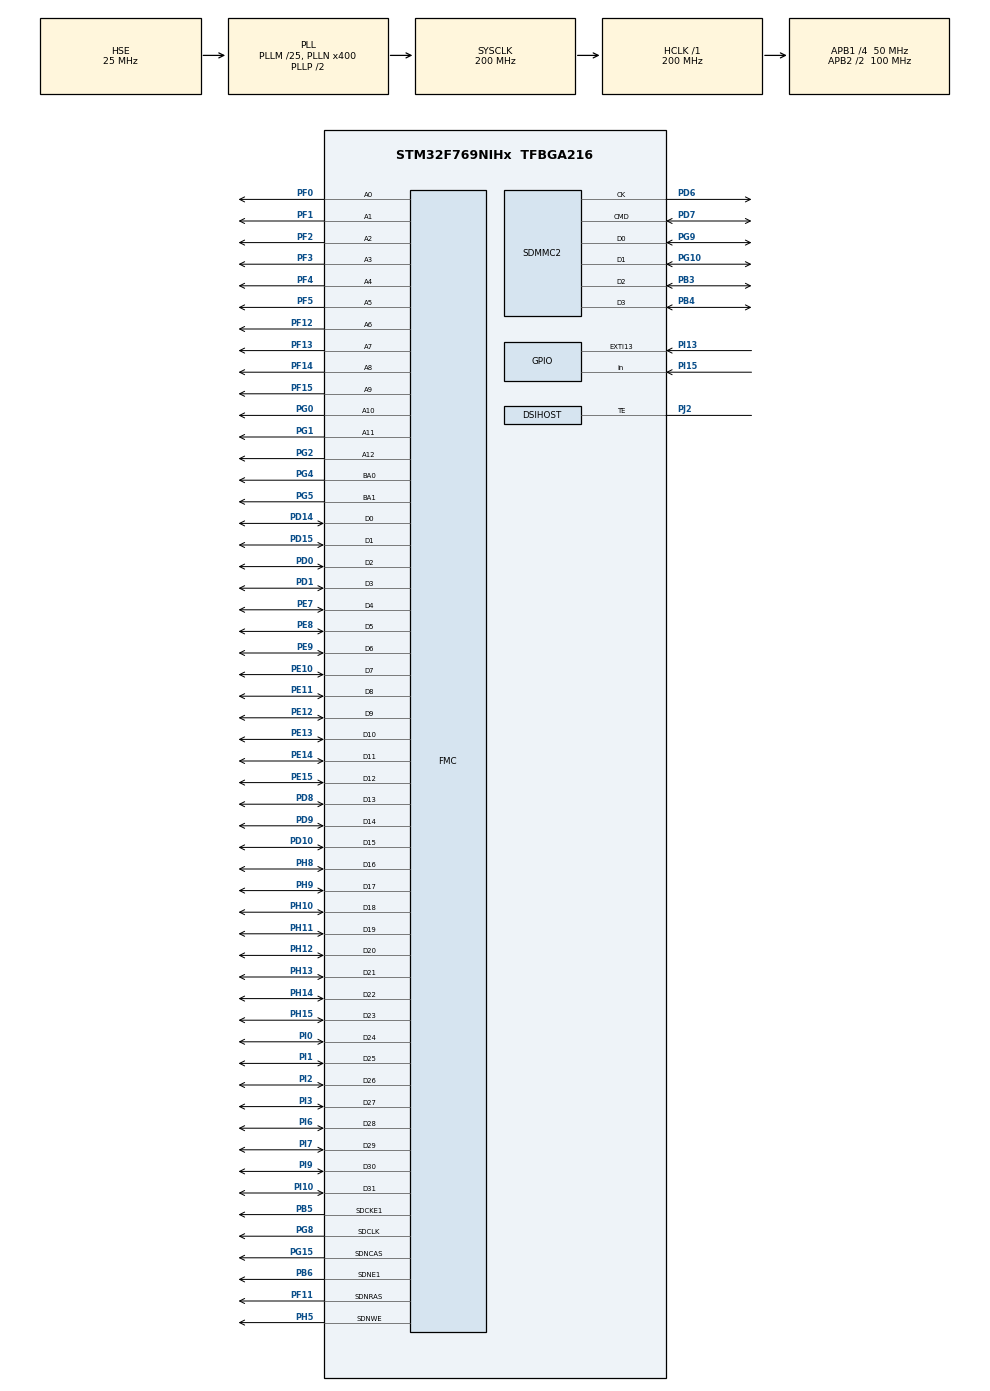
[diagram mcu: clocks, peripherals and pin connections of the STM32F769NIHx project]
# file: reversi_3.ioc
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ADC1.Channel-0\#ChannelRegularConversion=ADC_CHANNEL_TEMPSENSOR
ADC1.ContinuousConvMode=ENABLE
ADC1.EOCSelection=ADC_EOC_SEQ_CONV
ADC1.NbrOfConversionFlag=1
ADC1.Rank-0\#ChannelRegularConversion=1
ADC1.SamplingTime-0\#ChannelRegularConversion=ADC_SAMPLETIME_56CYCLES
ADC1.master=1
CORTEX_M7.CPU_DCache=Enabled
CORTEX_M7.CPU_ICache=Enabled
DSIHOST_CKN.Mode=DSIHost_Adapted_TE
DSIHOST_CKN.Signal=DSIHOST_CKN
DSIHOST_CKP.Mode=DSIHost_Adapted_TE
DSIHOST_CKP.Signal=DSIHOST_CKP
DSIHOST_D0N.Mode=DSIHost_Adapted_TE
DSIHOST_D0N.Signal=DSIHOST_D0N
DSIHOST_D0P.Mode=DSIHost_Adapted_TE
DSIHOST_D0P.Signal=DSIHOST_D0P
DSIHOST_D1N.Mode=DSIHost_Adapted_TE
DSIHOST_D1N.Signal=DSIHOST_D1N
DSIHOST_D1P.Mode=DSIHost_Adapted_TE
DSIHOST_D1P.Signal=DSIHOST_D1P
FATFS.BSP.number=1
FATFS0.BSP.STBoard=false
FATFS0.BSP.api=Unknown
FATFS0.BSP.i2caddr=0
FATFS0.BSP.instance=PI15
FATFS0.BSP.ip=GPIO
FATFS0.BSP.mode=Input
FATFS0.BSP.name=Detect_SDIO
FATFS0.BSP.solution=PI15
Mcu.Family=STM32F7
Mcu.Name=STM32F769NIHx
Mcu.Package=TFBGA216
NVIC.EXTI15_10_IRQn=true\:0\:0\:false\:false\:true\:true\:true
NVIC.PriorityGroup=NVIC_PRIORITYGROUP_4
NVIC.TIM6_DAC_IRQn=true\:0\:0\:false\:false\:true\:true\:true
PB3.Mode=SD_4_bits_Wide_bus
PB3.Signal=SDMMC2_D2
PB4.Mode=SD_4_bits_Wide_bus
PB4.Signal=SDMMC2_D3
PB5.Mode=SdramChipSelect2_1
PB5.Signal=FMC_SDCKE1
PB6.Mode=SdramChipSelect2_1
PB6.Signal=FMC_SDNE1
PD0.Signal=FMC_D2_DA2
PD1.Signal=FMC_D3_DA3
PD10.Signal=FMC_D15_DA15
PD14.Signal=FMC_D0_DA0
PD15.Signal=FMC_D1_DA1
PD6.Mode=SD_4_bits_Wide_bus
PD6.Signal=SDMMC2_CK
PD7.Mode=SD_4_bits_Wide_bus
PD7.Signal=SDMMC2_CMD
PD8.Signal=FMC_D13_DA13
PD9.Signal=FMC_D14_DA14
PE10.Signal=FMC_D7_DA7
PE11.Signal=FMC_D8_DA8
PE12.Signal=FMC_D9_DA9
PE13.Signal=FMC_D10_DA10
PE14.Signal=FMC_D11_DA11
PE15.Signal=FMC_D12_DA12
PE7.Signal=FMC_D4_DA4
PE8.Signal=FMC_D5_DA5
PE9.Signal=FMC_D6_DA6
PF0.Signal=FMC_A0
PF1.Signal=FMC_A1
PF11.Signal=FMC_SDNRAS
PF12.Signal=FMC_A6
PF13.Signal=FMC_A7
PF14.Signal=FMC_A8
PF15.Signal=FMC_A9
PF2.Signal=FMC_A2
PF3.Signal=FMC_A3
PF4.Signal=FMC_A4
PF5.Signal=FMC_A5
PG0.Signal=FMC_A10
PG1.Signal=FMC_A11
PG10.Mode=SD_4_bits_Wide_bus
PG10.Signal=SDMMC2_D1
PG15.Signal=FMC_SDNCAS
PG2.Signal=FMC_A12
PG4.Signal=FMC_A14_BA0
PG5.Signal=FMC_A15_BA1
PG8.Signal=FMC_SDCLK
PG9.Mode=SD_4_bits_Wide_bus
PG9.Signal=SDMMC2_D0
PH0/OSC_IN.Mode=HSE-External-Oscillator
PH0/OSC_IN.Signal=RCC_OSC_IN
PH1/OSC_OUT.Mode=HSE-External-Oscillator
PH1/OSC_OUT.Signal=RCC_OSC_OUT
PH10.Signal=FMC_D18
PH11.Signal=FMC_D19
PH12.Signal=FMC_D20
PH13.Signal=FMC_D21
PH14.Signal=FMC_D22
PH15.Signal=FMC_D23
PH5.Signal=FMC_SDNWE
PH8.Signal=FMC_D16
PH9.Signal=FMC_D17
PI0.Signal=FMC_D24
PI1.Signal=FMC_D25
PI10.Signal=FMC_D31
PI13.Signal=GPXTI13
PI15.Signal=GPIO_Input
PI2.Signal=FMC_D26
PI3.Signal=FMC_D27
PI6.Signal=FMC_D28
PI7.Signal=FMC_D29
PI9.Signal=FMC_D30
PJ2.Mode=DSIHost_Adapted_TE
PJ2.Signal=DSIHOST_TE
ProjectManager.HeapSize=0x200
ProjectManager.StackSize=0x400
ProjectManager.TargetToolchain=STM32CubeIDE
RCC.AHBFreq_Value=200000000
RCC.APB1CLKDivider=RCC_HCLK_DIV4
RCC.APB1Freq_Value=50000000
RCC.APB1TimFreq_Value=100000000
RCC.APB2CLKDivider=RCC_HCLK_DIV2
RCC.APB2Freq_Value=100000000
RCC.APB2TimFreq_Value=200000000
RCC.CortexFreq_Value=200000000
RCC.HCLKFreq_Value=200000000
RCC.HSE_VALUE=25000000
RCC.HSI_VALUE=16000000
RCC.LSE_VALUE=32768
RCC.PLLI2SN=96
RCC.PLLM=25
RCC.PLLN=400
RCC.PLLQ=8
RCC.PLLR=7
RCC.PLLSourceVirtual=RCC_PLLSOURCE_HSE
RCC.SDMMC2ClockSelection=RCC_SDMMC2CLKSOURCE_CLK48
RCC.SYSCLKFreq_VALUE=200000000
RCC.SYSCLKSource=RCC_SYSCLKSOURCE_PLLCLK
RCC.USBFreq_Value=50000000
RCC.VCOOutputFreq_Value=400000000
SH.FMC_A0.0=FMC_A0,13b-sda1
SH.FMC_A1.0=FMC_A1,13b-sda1
SH.FMC_A10.0=FMC_A10,13b-sda1
SH.FMC_A11.0=FMC_A11,13b-sda1
SH.FMC_A12.0=FMC_A12,13b-sda1
SH.FMC_A14_BA0.0=FMC_BA0,FourSdramBanks1
SH.FMC_A15_BA1.0=FMC_BA1,FourSdramBanks1
SH.FMC_A2.0=FMC_A2,13b-sda1
SH.FMC_A3.0=FMC_A3,13b-sda1
SH.FMC_A4.0=FMC_A4,13b-sda1
SH.FMC_A5.0=FMC_A5,13b-sda1
SH.FMC_A6.0=FMC_A6,13b-sda1
SH.FMC_A7.0=FMC_A7,13b-sda1
SH.FMC_A8.0=FMC_A8,13b-sda1
SH.FMC_A9.0=FMC_A9,13b-sda1
SH.FMC_D0_DA0.0=FMC_D0,sd-32b-d1
SH.FMC_D10_DA10.0=FMC_D10,sd-32b-d1
SH.FMC_D11_DA11.0=FMC_D11,sd-32b-d1
SH.FMC_D12_DA12.0=FMC_D12,sd-32b-d1
SH.FMC_D13_DA13.0=FMC_D13,sd-32b-d1
SH.FMC_D14_DA14.0=FMC_D14,sd-32b-d1
SH.FMC_D15_DA15.0=FMC_D15,sd-32b-d1
SH.FMC_D16.0=FMC_D16,sd-32b-d1
SH.FMC_D17.0=FMC_D17,sd-32b-d1
SH.FMC_D18.0=FMC_D18,sd-32b-d1
SH.FMC_D19.0=FMC_D19,sd-32b-d1
SH.FMC_D1_DA1.0=FMC_D1,sd-32b-d1
SH.FMC_D20.0=FMC_D20,sd-32b-d1
SH.FMC_D21.0=FMC_D21,sd-32b-d1
SH.FMC_D22.0=FMC_D22,sd-32b-d1
SH.FMC_D23.0=FMC_D23,sd-32b-d1
SH.FMC_D24.0=FMC_D24,sd-32b-d1
SH.FMC_D25.0=FMC_D25,sd-32b-d1
SH.FMC_D26.0=FMC_D26,sd-32b-d1
SH.FMC_D27.0=FMC_D27,sd-32b-d1
SH.FMC_D28.0=FMC_D28,sd-32b-d1
SH.FMC_D29.0=FMC_D29,sd-32b-d1
SH.FMC_D2_DA2.0=FMC_D2,sd-32b-d1
SH.FMC_D30.0=FMC_D30,sd-32b-d1
SH.FMC_D31.0=FMC_D31,sd-32b-d1
SH.FMC_D3_DA3.0=FMC_D3,sd-32b-d1
SH.FMC_D4_DA4.0=FMC_D4,sd-32b-d1
SH.FMC_D5_DA5.0=FMC_D5,sd-32b-d1
SH.FMC_D6_DA6.0=FMC_D6,sd-32b-d1
SH.FMC_D7_DA7.0=FMC_D7,sd-32b-d1
SH.FMC_D8_DA8.0=FMC_D8,sd-32b-d1
SH.FMC_D9_DA9.0=FMC_D9,sd-32b-d1
SH.FMC_SDCLK.0=FMC_SDCLK,13b-sda1
SH.FMC_SDNCAS.0=FMC_SDNCAS,13b-sda1
SH.FMC_SDNRAS.0=FMC_SDNRAS,13b-sda1
SH.FMC_SDNWE.0=FMC_SDNWE,13b-sda1
TIM6.Period=9999
TIM6.Prescaler=9999
VP_ADC1_TempSens_Input.Mode=IN-TempSens
VP_DMA2D_VS_DMA2D.Mode=DMA2D_Activate
VP_FATFS_VS_SDIO.Mode=SDIO
VP_LTDC_DSIMode.Mode=RGB888
VP_TIM6_VS_ClockSourceINT.Mode=Enable_Timer
board=STM32F769I-DISCO

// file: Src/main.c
/* USER CODE BEGIN Header */
//REVERSI - Marina Baltar
/**
  ******************************************************************************
  * @file           : main.c
  * @brief          : Main program body
  ******************************************************************************
  * @attention
  *
  * <h2><center>&copy; Copyright (c) 2019 STMicroelectronics.
  * All rights reserved.</center></h2>
  *
  * This software component is licensed by ST under BSD 3-Clause license,
  * the "License"; You may not use this file except in compliance with the
  * License. You may obtain a copy of the License at:
  *                        opensource.org/licenses/BSD-3-Clause
  *
  ******************************************************************************
  */
/* USER CODE END Header */

#include "main.h"
#include "fatfs.h"

/* USER CODE BEGIN Includes */
#include "stm32f769i_discovery.h"
#include "stm32f769i_discovery_lcd.h"
#include "stm32f769i_discovery_ts.h"
#include <stdio.h>
#include <stdlib.h>
/* USER CODE END Includes */

/* USER CODE BEGIN PD */
#define TEMP_REFRESH_PERIOD   2000    /* Internal temperature refresh period */
#define MAX_CONVERTED_VALUE   4095    /* Max converted value */
#define AMBIENT_TEMP            25    /* Ambient Temperature */
#define VSENS_AT_AMBIENT_TEMP  760    /* VSENSE value (mv) at ambient temperature */
#define AVG_SLOPE               25    /* Avg_Solpe multiply by 10 */
#define VREF                  3300

#define COR_JOGADOR_1        LCD_COLOR_RED
#define PECA_JOGADOR_1       'X'
#define COR_JOGADOR_2        LCD_COLOR_GREEN
#define PECA_JOGADOR_2       'Y'
#define SEM_PECA	         'N'
#define JOGADA_POSSIVEL	     'P'
/* USER CODE END PD */

ADC_HandleTypeDef hadc1;

DMA2D_HandleTypeDef hdma2d;

DSI_HandleTypeDef hdsi;

LTDC_HandleTypeDef hltdc;

SD_HandleTypeDef hsd2;

TIM_HandleTypeDef htim6;

SDRAM_HandleTypeDef hsdram1;

void SystemClock_Config(void);
static void MX_GPIO_Init(void);
static void MX_DMA2D_Init(void);
static void MX_FMC_Init(void);
static void MX_LTDC_Init(void);
static void MX_ADC1_Init(void);
static void MX_DSIHOST_DSI_Init(void);
static void MX_SDMMC2_SD_Init(void);
static void MX_TIM6_Init(void);
/* USER CODE BEGIN PFP */
static void LCD_Config();
/* USER CODE END PFP */

/* USER CODE BEGIN 0 */
int adversario = 0;
int flag=0;
int count = 0; //CONTA SEGUNDOS
int deadline = 20;
uint32_t ConvertedValue;
long int JTemp;
char desc[100];
int init_tick_led1 = 0;
TS_StateTypeDef TS_State;
int ts_flag = 0;
volatile int ver_quem_joga = 1; //começa no jogador 1
volatile char tabuleiro[8][8];
int passa_jogada_um = 0;
int passa_jogada_dois = 0;

void HAL_GPIO_EXTI_Callback(uint16_t GPIO_Pin){

	if(GPIO_Pin == GPIO_PIN_13){
		BSP_TS_GetState(&TS_State);
		ts_flag=1;
	    HAL_Delay(100);
	}

}

void HAL_TIM_PeriodElapsedCallback (TIM_HandleTypeDef *htim){
	if(htim->Instance == TIM6){
		flag=1;
		count++;
		deadline--;

		  if (count%2 == 0){
			  //ACTUALIZA O VALOR DA TEMPERATURA
			  ConvertedValue=HAL_ADC_GetValue(&hadc1); //get value
			  JTemp = ((((ConvertedValue * VREF)/MAX_CONVERTED_VALUE) - VSENS_AT_AMBIENT_TEMP) * 10 / AVG_SLOPE) + AMBIENT_TEMP;
		      if(HAL_GetTick() >= init_tick_led1 + 500)
		      {
		          init_tick_led1 = HAL_GetTick();
		          BSP_LED_Toggle(LED_GREEN);
		      }
		  }
	}
	flag=0;
}

void menu_inicial(){
	sprintf(desc, "REVERSI");
	BSP_LCD_SetFont(&Font24);
	BSP_LCD_SetTextColor(LCD_COLOR_RED);
	BSP_LCD_DisplayStringAt(0, BSP_LCD_GetYSize()/2 - 50, (uint8_t *)desc, CENTER_MODE);

	BSP_LCD_SetTextColor(LCD_COLOR_BLACK);
	sprintf(desc, "Escolha um adversario");
	BSP_LCD_SetFont(&Font20);
	BSP_LCD_DisplayStringAt(0, BSP_LCD_GetYSize()/2 - 20, (uint8_t *)desc, CENTER_MODE);

	sprintf(desc, "Prima o botao azul para comecar o jogo");
	BSP_LCD_DisplayStringAt(0, BSP_LCD_GetYSize()/2 + 10, (uint8_t *)desc, CENTER_MODE);

	sprintf(desc, "Humano");
	BSP_LCD_SetFont(&Font24);
	BSP_LCD_SetTextColor(LCD_COLOR_RED);
	BSP_LCD_DisplayStringAt(-250, BSP_LCD_GetYSize()/2 + 115, (uint8_t *)desc, CENTER_MODE);

	sprintf(desc, "ARM");
	BSP_LCD_DisplayStringAt(250, BSP_LCD_GetYSize()/2 + 115, (uint8_t *)desc, CENTER_MODE);
	BSP_LCD_SetTextColor(LCD_COLOR_BLACK);

}

void fim_do_jogo(int * jog_um, int * jog_dois, int * vencedor){
	int k = 0;
	int z = 0;

	for(k = 0; k < 8; k++){
		for(z = 0; z < 8; z++){
			if(tabuleiro[k][z] == PECA_JOGADOR_1){
				(*jog_um)++;
			}
			else if(tabuleiro[k][z] == PECA_JOGADOR_2){
				(*jog_dois)++;
			}
		}
	}

	if(*jog_um == *jog_dois){
		sprintf(desc, "Empate! Jogador 1: %d; Jogador 2: %d", *jog_um, *jog_dois);
		*vencedor = 0;
	}
	else if(*jog_um > *jog_dois){
		sprintf(desc, "Ganhou o Jogador 1! Jogador 1: %d; Jogador 2: %d", *jog_um, *jog_dois);
		*vencedor = 1;
	}
	else if(*jog_um < *jog_dois){
		sprintf(desc, "Ganhou o Jogador 2! Jogador 1: %d; Jogador 2: %d", *jog_um, *jog_dois);
		*vencedor = 2;
	}
	BSP_LCD_SetTextColor(LCD_COLOR_WHITE);
	BSP_LCD_FillRect(0, 50, BSP_LCD_GetXSize(), BSP_LCD_GetYSize()-50);
	BSP_LCD_SetFont(&Font20);
	BSP_LCD_SetTextColor(LCD_COLOR_BLUE);
	BSP_LCD_DisplayStringAt(0, BSP_LCD_GetYSize()/2 - 30, (uint8_t *)desc, CENTER_MODE);
	BSP_LCD_SetTextColor(LCD_COLOR_BLACK);
	sprintf(desc, "Prima o botao azul para recomecar o jogo");
	BSP_LCD_SetFont(&Font16);
	BSP_LCD_DisplayStringAt(0, BSP_LCD_GetYSize()/2 - 10, (uint8_t *)desc, CENTER_MODE);
}

void imprime_tabuleiro(){

	  BSP_LCD_SetTextColor(LCD_COLOR_YELLOW);
	  BSP_LCD_FillRect(BSP_LCD_GetXSize()/10, BSP_LCD_GetYSize()/10, 400, 400);
	  BSP_LCD_SetTextColor(LCD_COLOR_ORANGE);
	  int i=0;
	  for(i = 0; i<=8; i++){
		  BSP_LCD_DrawVLine(BSP_LCD_GetXSize()/10 + (BSP_LCD_GetXSize()/16)*i, BSP_LCD_GetYSize()/10, 400);
	  }
	  int j;
	  for(j = 0; j<=8; j++){
		  BSP_LCD_DrawHLine(BSP_LCD_GetXSize()/10, BSP_LCD_GetYSize()/10 + (BSP_LCD_GetYSize()/9.6)*j, 400);
	  }
	  BSP_LCD_SetTextColor(LCD_COLOR_BLACK);

}

void mostra_temperatura(){
	  //Mostrar a temperatura
	  sprintf(desc, "Temperatura: %ld C", JTemp);
	  BSP_LCD_SetFont(&Font12);
	  BSP_LCD_DisplayStringAt(0, BSP_LCD_GetYSize()/2 - 90, (uint8_t *)desc, RIGHT_MODE);
}

void mostra_tempo(){
	//Mostrar o tempo
	sprintf(desc, "Tempo: %d segundos", count);
	BSP_LCD_SetFont(&Font12);
	BSP_LCD_DisplayStringAt(0, BSP_LCD_GetYSize()/2 - 70, (uint8_t *)desc, RIGHT_MODE);
}

void mostra_deadline(){
	//Mostrar deadline
	sprintf(desc, "   Faltam: %d segundos", deadline);
	BSP_LCD_SetFont(&Font20);
	BSP_LCD_DisplayStringAt(0, BSP_LCD_GetYSize()/2 - 20, (uint8_t *)desc, RIGHT_MODE);
}

void mostra_quem_joga(){
	//Mostrar o jogador
    if (ver_quem_joga%2 == 1){
    	sprintf(desc, "Jogador 1");
    	BSP_LCD_SetFont(&Font16);
    	BSP_LCD_SetTextColor(COR_JOGADOR_1);
    	BSP_LCD_DisplayStringAt(0, BSP_LCD_GetYSize()/2 - 50, (uint8_t *)desc, RIGHT_MODE);
    	BSP_LCD_SetTextColor(LCD_COLOR_BLACK);
    }
    else{
    	sprintf(desc, "Jogador 2");
    	BSP_LCD_SetFont(&Font16);
    	BSP_LCD_SetTextColor(COR_JOGADOR_2);
    	BSP_LCD_DisplayStringAt(0, BSP_LCD_GetYSize()/2 - 50, (uint8_t *)desc, RIGHT_MODE);
    	BSP_LCD_SetTextColor(LCD_COLOR_BLACK);
    }
}

void imprime_pecas_iniciais(){

	BSP_LCD_SetTextColor(COR_JOGADOR_1);
	BSP_LCD_FillCircle(50*3 + 105, 50*3 + 75, 15);
	BSP_LCD_FillCircle(50*4 + 105, 50*4 + 75, 15);
	tabuleiro[3][3] = PECA_JOGADOR_1;
	tabuleiro[4][4] = PECA_JOGADOR_1;

	BSP_LCD_SetTextColor(COR_JOGADOR_2);
	BSP_LCD_FillCircle(50*3 + 105, 50*4 + 75, 15);
	BSP_LCD_FillCircle(50*4 + 105, 50*3 + 75, 15);
	tabuleiro[3][4] = PECA_JOGADOR_2;
	tabuleiro[4][3] = PECA_JOGADOR_2;

	BSP_LCD_SetTextColor(LCD_COLOR_BLACK);

}

void imprime_jogada(float x, float y, int i, int j){
    if (ver_quem_joga%2 == 1){
    	tabuleiro[i][j] = PECA_JOGADOR_1;
		BSP_LCD_SetTextColor(COR_JOGADOR_1);
		BSP_LCD_FillCircle(x, y, 15);
    }
    else{
    	tabuleiro[i][j] = PECA_JOGADOR_2;
		BSP_LCD_SetTextColor(COR_JOGADOR_2);
		BSP_LCD_FillCircle(x, y, 15);
    }
}

void actualiza_pecas_tabuleiro(){
	int k = 0;
	int z = 0;

	for(k = 0; k < 8; k++){
		for(z = 0; z < 8; z++){
			if(tabuleiro[k][z] == PECA_JOGADOR_1){
				BSP_LCD_SetTextColor(COR_JOGADOR_1);
				BSP_LCD_FillCircle(50*k + 105, 50*z + 75, 15);
			}
			else if(tabuleiro[k][z]==PECA_JOGADOR_2){
				BSP_LCD_SetTextColor(COR_JOGADOR_2);
				BSP_LCD_FillCircle(50*k + 105, 50*z + 75, 15);
			}
			else if(tabuleiro[k][z]==SEM_PECA){
				BSP_LCD_SetTextColor(LCD_COLOR_YELLOW);
				BSP_LCD_FillCircle(50*k + 105, 50*z + 75, 15);
			}
			else if(tabuleiro[k][z]==JOGADA_POSSIVEL){
				BSP_LCD_SetTextColor(LCD_COLOR_BLUE);
				BSP_LCD_FillCircle(50*k + 105, 50*z + 75, 5);
			}
		}
	}
	BSP_LCD_SetTextColor(LCD_COLOR_BLACK);
}

void limpa_possibilidades(){
	int k = 0;
	int z = 0;

	for(k = 0; k < 8; k++){
		for(z = 0; z < 8; z++){
			if(tabuleiro[k][z] == JOGADA_POSSIVEL){
				tabuleiro[k][z] = SEM_PECA;
			}
		}
	}
}

int validar_com_self(int linsel, int colsel){
    char self, adv;
    int i = 0;
    int j = 0;

    if (ver_quem_joga%2 == 1){
    	self = PECA_JOGADOR_1;
    	adv = PECA_JOGADOR_2;
    }
    else{
    	self = PECA_JOGADOR_2;
    	adv = PECA_JOGADOR_1;
    }

    //ver relaçoes com as peças vizinhas
    //ESQUERDA
    if(tabuleiro[linsel][colsel-1] == adv){
        for(j = colsel-2; j >= 0 ;  j-- ){
            if(tabuleiro[linsel][j] == self){
                return 1;
            }
        }
    }

    //DIREITA
    if(tabuleiro[linsel][colsel+1] == adv){
        for(j = colsel + 2; j < 8 ;  j++ ){
            if(tabuleiro[linsel][j] == self){
                return 1;
            }
        }
    }

    //CIMA
    if(tabuleiro[linsel+1][colsel] == adv){
        for(i = linsel + 2; i < 8 ;  i++ ){
            if(tabuleiro[i][colsel] == self){
                return 1;
            }
        }
    }

    //BAIXO
    if(tabuleiro[linsel-1][colsel] == adv){
        for(i = linsel-2; i >= 0 ;  i-- ){
            if(tabuleiro[i][colsel] == self){
                return 1;
            }
        }
    }

   //DIAGONAL SUPERIOR ESQUERDA
   if(tabuleiro[linsel-1][colsel+1] == adv){
       for(i=linsel-2, j=colsel+2; i>=0 && j< 8; i--, j++){
           if(tabuleiro[i][j] == self){
               return 1;
           }
       }
   }

   // DIAGONAL INFERIOR DIREITA
     if(tabuleiro[linsel+1][colsel-1] == adv){ //verfica se há adversário junto à casa onde pretendemos jogar
       for(i=linsel+2, j=colsel-2; i<8 && j>= 0; i++, j--){
           if(tabuleiro[i][j] == self){ // ve se tem self
               return 1;
           }
       }
   }

     // DIAGONAL INFERIOR ESQUERDA
     if(tabuleiro[linsel+1][colsel+1] == adv){ //verfica se ha adversario junto
       for(i=linsel+2, j=colsel+2; i<8 && j< 8; i++, j++){
           if(tabuleiro[i][j] == self){ //verifica se ha self a seguir
               return 1;
           }
       }
   }

     // DIAGONAL SUPERIOR DIREITA
     if(tabuleiro[linsel-1][colsel-1] == adv){ //ve se ha adversario
       for(i=linsel-2, j=colsel-2; i>=0 && j>= 0; i--, j--){
           if(tabuleiro[i][j] == self){ //ve se ha self
               return 1;
           }
       }
   }

     // DIAGONAL SUPERIOR ESQUERDA
     if(tabuleiro[linsel-1][colsel+1] == adv){ //adversario ao lado
       for(i=linsel-2, j=colsel+2; i>=0 && j< 8; i--, j++){
           if(tabuleiro[i][j] == self){ //self a seguir ao adversario
               return 1;
           }
       }
   }

     return 0;

}

void jogadas_possiveis(){
    char adv;
    int i = 0;
    int j = 0;

    if (ver_quem_joga%2 == 1){
        adv = PECA_JOGADOR_2;
    }
    else{
    	adv = PECA_JOGADOR_1;
    }

    	for(i = 0; i < 8; i++){
    		for(j = 0; j < 8; j++){
    			if(i==0 && j==0){ //canto superior esquerdo
    				if((tabuleiro[0][1] == adv ||
    					tabuleiro[1][1] == adv ||
						tabuleiro[1][0] == adv)
    					&& tabuleiro[0][0]==SEM_PECA && validar_com_self(i, j)){

    						tabuleiro[i][j] = JOGADA_POSSIVEL;
    				}
    			}
    			else if(i==0 && j==7){ //canto superior direito
    				if((tabuleiro[0][6] == adv ||
    					tabuleiro[1][6] == adv ||
						tabuleiro[1][7] == adv)
    					&& tabuleiro[0][7]==SEM_PECA && validar_com_self(i, j)){

    						tabuleiro[i][j] = JOGADA_POSSIVEL;
    				}
    			}
    			else if(i==7 && j==0){ //canto inferior esquerdo
    				if((tabuleiro[6][0] == adv ||
    					tabuleiro[6][1] == adv ||
						tabuleiro[7][1] == adv)
    					&& tabuleiro[7][0]==SEM_PECA && validar_com_self(i, j)){

    						tabuleiro[i][j] = JOGADA_POSSIVEL;
    				}
    			}
    			else if(i==7 && j==7){ //canto inferior direito
    				if((tabuleiro[6][7] == adv ||
    					tabuleiro[6][6] == adv ||
						tabuleiro[7][6] == adv)
    					&& tabuleiro[7][7]==SEM_PECA && validar_com_self(i, j)){

    						tabuleiro[i][j] = JOGADA_POSSIVEL;
    				}
    			}
    			else if(i==0 && j!=0 && j!=7){ //linha de cima
    				if((tabuleiro[0][j-1] == adv ||
    					tabuleiro[0][j+1] == adv ||
						tabuleiro[1][j] == adv ||
						tabuleiro[1][j+1] == adv ||
						tabuleiro[1][j-1] == adv)
    					&& tabuleiro[0][j]==SEM_PECA && validar_com_self(i, j)){

    						tabuleiro[i][j] = JOGADA_POSSIVEL;
    				}
    			}
    			else if(j==0 && i!=0 && i!=7){ //linha esquerda
    				if((tabuleiro[i-1][0] == adv ||
    					tabuleiro[i+1][0] == adv ||
						tabuleiro[1][i-1] == adv ||
						tabuleiro[1][i+1] == adv ||
						tabuleiro[1][i] == adv)
    					&& tabuleiro[i][0]==SEM_PECA && validar_com_self(i, j)){

    						tabuleiro[i][j] = JOGADA_POSSIVEL;
    				}
    			}
    			else if(i==7 && j!=0 && j!=7){ //linha de baixo
    				if((tabuleiro[7][j-1] == adv ||
    					tabuleiro[7][j+1] == adv ||
						tabuleiro[6][j] == adv ||
						tabuleiro[6][j-1] == adv ||
						tabuleiro[6][j+1] == adv)
    					&& tabuleiro[7][j]==SEM_PECA && validar_com_self(i, j)){

    						tabuleiro[i][j] = JOGADA_POSSIVEL;
    				}
    			}
    			else if(j==7 && i!=0 && i!=7){ //linha direita
    				if((tabuleiro[i-1][7] == adv ||
    					tabuleiro[i+1][7] == adv ||
						tabuleiro[i][6] == adv ||
						tabuleiro[i-1][6] == adv||
						tabuleiro[i+1][6] == adv)
    					&& tabuleiro[i][7]==SEM_PECA && validar_com_self(i, j)){

    						tabuleiro[i][j] = JOGADA_POSSIVEL;
    				}
    			}
    			//regra geral:
    			else if((tabuleiro[i-1][j-1] == adv ||
    					tabuleiro[i-1][j] == adv ||
						tabuleiro[i-1][j+1] == adv ||
						tabuleiro[i+1][j-1] == adv ||
						tabuleiro[i+1][j] == adv ||
						tabuleiro[i+1][j+1] == adv ||
						tabuleiro[i][j-1] == adv ||
						tabuleiro[i][j+1] == adv)
    					&& tabuleiro[i][j]==SEM_PECA && validar_com_self(i, j)){

    						tabuleiro[i][j] = JOGADA_POSSIVEL;
    				}
    			}

    }
    BSP_LCD_SetTextColor(LCD_COLOR_BLACK);
}

void vira_pecas(int linsel, int colsel){
	char self;
	char adv;
	int j = 0;
	int i = 0;
	int ok = 0;

    if (ver_quem_joga%2 == 1){
    	self = PECA_JOGADOR_1;
        adv = PECA_JOGADOR_2;
    }
    else{
    	self = PECA_JOGADOR_2;
    	adv = PECA_JOGADOR_1;
    }

    //ver relaçoes com as peças vizinhas
    //ESQUERDA
    if(tabuleiro[linsel][colsel-1] == adv){
        for(j = colsel-2; j >= 0 ;  j-- ){
            if(tabuleiro[linsel][j] == self){
                ok = 1;
                break;
            }
            else{
                ok = 0;
            }
        }
    }

    if(ok){
        for(j = colsel-1; j >= 0 && tabuleiro[linsel][j] == adv; j--){
        	tabuleiro[linsel][j] = self;
        }
    }

    ok = 0;

    //DIREITA
    if(tabuleiro[linsel][colsel+1] == adv){
        for(j = colsel + 2; j < 8 ;  j++ ){
            if(tabuleiro[linsel][j] == self){
                ok = 1;
                break;
            }
            else{
                ok = 0;
            }
        }
    }

    if(ok){
        for(j = colsel + 1; j < 8 && tabuleiro[linsel][j] == adv; j++){
        	tabuleiro[linsel][j] = self;
        }
    }

    ok = 0;

    //CIMA
    if(tabuleiro[linsel+1][colsel] == adv){
        for(i = linsel + 2; i < 8 ;  i++ ){
            if(tabuleiro[i][colsel] == self){
                ok = 1;
                break;
            }
            else{
                ok = 0;
            }
        }
    }

    if(ok){
        for(i = linsel + 1; i < 8 && tabuleiro[i][colsel] == adv; i++){
        	tabuleiro[i][colsel] = self;
        }
    }

    ok = 0;

    //BAIXO
    if(tabuleiro[linsel-1][colsel] == adv){
        for(i = linsel-2; i >= 0 ;  i-- ){
            if(tabuleiro[i][colsel] == self){
                ok = 1;
                break;
            }
            else{
                ok = 0;
            }
        }
    }

    if(ok){
        for(i = linsel-1; i >= 0 && tabuleiro[i][colsel] == adv; i--){
        	tabuleiro[i][colsel] = self;
        }
    }

    ok = 0;

   //DIAGONAL SUPERIOR ESQUERDA
   if(tabuleiro[linsel-1][colsel+1] == adv){
       for(i=linsel-2, j=colsel+2; i>=0 && j< 8; i--, j++){
           if(tabuleiro[i][j] == self){
               ok = 1;
               break;
           }
           else{
               ok = 0;
           }
       }
   }

   if(ok){
      for(i=linsel-1, j=colsel+1; i>=0 && j< 8 && tabuleiro[i][j] == adv; i--, j++){
    	  tabuleiro[i][j] = self;
       }
   }

   ok = 0;

   //DIAGONAL INFERIOR ESQUERDA
   if(tabuleiro[linsel+1][colsel-1] == adv){
       for(i=linsel+2, j=colsel-2; i<8 && j>= 0; i++, j--){
           if(tabuleiro[i][j] == self){
               ok = 1;
               break;
           }
           else{
               ok = 0;
           }
       }
   }

   if(ok){
      for(i=linsel+1, j=colsel-1; i<8 && j>= 0 && tabuleiro[i][j] == adv; i++, j--){
    	  tabuleiro[i][j] = self;
       }
   }

   ok = 0;

   //DIAGONAL SUPERIOR DIREITA
   if(tabuleiro[linsel+1][colsel+1] == adv){
       for(i=linsel+2, j=colsel+2; i<8 && j< 8; i++, j++){
           if(tabuleiro[i][j] == self){
               ok = 1;
               break;
           }
           else{
               ok = 0;
           }
       }
   }

   if(ok){
      for(int i=linsel+1, j=colsel+1; i<8 && j < 8 && tabuleiro[i][j] == adv; i++, j++){
    	  tabuleiro[i][j] = self;
       }
   }

   ok = 0;

   //DIAGONAL INFERIOR ESQUERDA
   if(tabuleiro[linsel-1][colsel-1] == adv){
      for(i=linsel-2, j=colsel-2; i>=0 && j>= 0; i--, j--){
           if(tabuleiro[i][j] == self){
               ok = 1;
               break;
           }
           else{
               ok = 0;
           }
       }
   }

   if(ok){
      for(i=linsel-1, j=colsel-1; i>=0 && j>= 0 && tabuleiro[i][j] == adv; i--, j--){
    	  tabuleiro[i][j] = self;
       }
   }

    ok = 0;

}

void jogada_automatica(){

    int i = 0;
    int j = 0;
    int conta_valida = 0;

    for(i=0; i<8; i++){
    	for(j=0; j<8; j++){
    		if(tabuleiro[i][j] == JOGADA_POSSIVEL){
    			conta_valida++;
    				if(conta_valida == 1){
    					tabuleiro[i][j] = PECA_JOGADOR_2;
    					vira_pecas(i, j);
    				}
    				else if(conta_valida > 1){
    					tabuleiro[i][j] = SEM_PECA;
    				}
    		}
    	}
    }

    ver_quem_joga++;
	limpa_possibilidades();
	jogadas_possiveis();
	actualiza_pecas_tabuleiro();

}

void tocar_ecran_menu_inicial(){

	if(ts_flag==1){
		ts_flag=0;
			if(TS_State.touchX[0]>500 && TS_State.touchY[0]>=250){
				BSP_LCD_SetTextColor(LCD_COLOR_BLACK);
				BSP_LCD_FillCircle(TS_State.touchX[0], TS_State.touchY[0], 20);
				adversario = 1;
			}
			if(TS_State.touchX[0]<300 && TS_State.touchY[0]>=250){
				BSP_LCD_SetTextColor(LCD_COLOR_BLACK);
				BSP_LCD_FillCircle(TS_State.touchX[0], TS_State.touchY[0], 20);
				adversario = 0;
			}
	}

}

void dinamica_de_jogo(float x, float y, int i, int j){
	if(tabuleiro[i][j]==JOGADA_POSSIVEL && deadline >= 0){
		deadline = 20;
		if (ver_quem_joga%2 == 1){
			  passa_jogada_um = 0;
		}
		else{
			  passa_jogada_dois = 0;
		}

		imprime_jogada(x, y, i, j);
		vira_pecas(i, j);
		ver_quem_joga++;
		limpa_possibilidades();
		jogadas_possiveis();
		actualiza_pecas_tabuleiro();
	}
}

void tocar_ecran(){

	int i=0;
	int j=0;
	float x = 0.0;
	float y = 0.0;

	if(ts_flag==1){
		ts_flag=0;
			if(TS_State.touchX[0]>=(BSP_LCD_GetXSize()/10+15) && TS_State.touchY[0]>=(BSP_LCD_GetYSize()/10+15) && TS_State.touchX[0]<=475 && TS_State.touchY[0]<=450){

				for(i=0; i<8; i++){
					if((TS_State.touchX[0]) >= 50*i + 80 && (TS_State.touchX[0]) < 50*i + 130){
						x = 50*i + 105;
						break;
					}
				}

				for(j=0; j<8; j++){
					if((TS_State.touchY[0]) >= (50*j) && (TS_State.touchY[0]) < (50*j+100)){
						y = 50*j + 75;
						break;
					}
				}

				dinamica_de_jogo(x, y, i, j);

		}
	}
}

int nao_e_possivel_continuar_jogo(){
	int i = 0;
	int j = 0;
	int conta_self = 0;
	int conta_possiveis = 0;
	int conta_vazias = 0;

	char self;

    if (ver_quem_joga%2 == 1){
        self = PECA_JOGADOR_1;
    }
    else{
    	self = PECA_JOGADOR_2;
    }

	for (i = 0; i < 8; i++){
		for (j = 0; j < 8; j++){
			if(tabuleiro[i][j] == self){
				conta_self++;
			}
			else if(tabuleiro[i][j] == SEM_PECA){
				conta_vazias++;
			}
			else if(tabuleiro[i][j] == JOGADA_POSSIVEL){
				conta_possiveis++;
			}
		}
	}
	if(conta_self == 0){
		return 1;
	}
	else if(conta_vazias == 0){
		if(conta_possiveis == 0){
			return 1;
		}
		else{
			return 0;
		}
	}
	else{
		return 0;
	}
}

/* USER CODE END 0 */

int main(void)
{
  /* USER CODE BEGIN 1 */
	unsigned int nBytes;
	int i = 0;
	int j = 0;
	int jog_um = 0;
	int jog_dois = 0;
	int vencedor = 0;

  /* USER CODE END 1 */

  /* Enable I-Cache---------------------------------------------------------*/
  SCB_EnableICache();

  /* Enable D-Cache---------------------------------------------------------*/
  SCB_EnableDCache();

  /* MCU Configuration--------------------------------------------------------*/

  /* Reset of all peripherals, Initializes the Flash interface and the Systick. */
  HAL_Init();

  /* Configure the system clock */
  SystemClock_Config();

  /* Initialize all configured peripherals */
  MX_GPIO_Init();
  MX_DMA2D_Init();
  MX_FMC_Init();
  MX_LTDC_Init();
  MX_ADC1_Init();
  MX_DSIHOST_DSI_Init();
  MX_SDMMC2_SD_Init();
  MX_TIM6_Init();
  MX_FATFS_Init();
  /* USER CODE BEGIN 2 */

  HAL_TIM_Base_Start_IT(&htim6);
  LCD_Config();
  BSP_LED_Init(LED_GREEN);
  BSP_LED_Init(LED_RED);
  BSP_PB_Init(BUTTON_WAKEUP, BUTTON_MODE_GPIO);
//start do adc
  HAL_ADC_Start(&hadc1);

  BSP_TS_Init(BSP_LCD_GetXSize(), BSP_LCD_GetYSize());
  BSP_TS_ITConfig();

  jump:

  HAL_Delay(250);
  BSP_LCD_SetTextColor(LCD_COLOR_WHITE);
  BSP_LCD_FillRect(0, 50, BSP_LCD_GetXSize(), BSP_LCD_GetYSize()-50);
  adversario = 0;

  while(BSP_PB_GetState(BUTTON_WAKEUP)!=1){
	  menu_inicial();
	  tocar_ecran_menu_inicial();
	  BSP_LCD_SetTextColor(LCD_COLOR_BLACK);
  }
  BSP_LCD_SetTextColor(LCD_COLOR_WHITE);
  BSP_LCD_FillRect(0, 50, BSP_LCD_GetXSize(), BSP_LCD_GetYSize()-50);

  ver_quem_joga = 1;
  count = 0;
  deadline = 20;

  imprime_tabuleiro();

  for (i = 0; i < 8; i++){
	  for (j = 0; j < 8; j++){
		  tabuleiro[i][j] = SEM_PECA;
	  }
  }

  imprime_pecas_iniciais();

  jogadas_possiveis();
  actualiza_pecas_tabuleiro();

  /* USER CODE END 2 */

  /* Infinite loop */
  /* USER CODE BEGIN WHILE */
  while (1)
  {

	  mostra_temperatura();
	  mostra_tempo();
	  mostra_deadline();
	  mostra_quem_joga();
	  tocar_ecran();

	  if(BSP_PB_GetState(BUTTON_WAKEUP)==1 && count>1){
		  goto jump;
	  }

	  if(adversario==1){
		  if(ver_quem_joga%2==0){
				limpa_possibilidades();
				jogadas_possiveis();
				actualiza_pecas_tabuleiro();
				passa_jogada_dois = 0;
				jogada_automatica();
		  }
	  }

	  if(deadline < 0){
		  deadline = 20;

		  if (ver_quem_joga%2 == 1){
			  passa_jogada_um++;
		  }
		  else{
			  passa_jogada_dois++;
		  }

		  ver_quem_joga++;
		  limpa_possibilidades();
		  jogadas_possiveis();
		  actualiza_pecas_tabuleiro();
		  tocar_ecran();
	  }

	  if(nao_e_possivel_continuar_jogo() || passa_jogada_um >= 3 || passa_jogada_dois >= 3){
		  fim_do_jogo(&jog_um, &jog_dois, &vencedor);

		  if (f_mount(&SDFatFS, SDPath, 0) != FR_OK){
		          Error_Handler();
		      }

		      if (f_open(&SDFile, "reversi.txt", FA_CREATE_ALWAYS | FA_WRITE ) != FR_OK){
		          Error_Handler();
		      }

			  if(vencedor == 0){
				  sprintf(desc, "Empate a %d!\n", jog_um);
			  }
			  else if(vencedor == 1){
				  sprintf(desc, "Ganhou o jogador 1! Jog 1: %d; Jog 2: %d\n", jog_um, jog_dois);
			  }
			  else if(vencedor == 2){
				  sprintf(desc, "Ganhou o jogador 2! Jog 1: %d; Jog 2: %d\n", jog_um, jog_dois);
			  }

		          f_write(&SDFile, desc, strlen(desc), &nBytes);
		          f_close(&SDFile);

  		  while(BSP_PB_GetState(BUTTON_WAKEUP)!=1){

  		  }
	  }
    /* USER CODE END WHILE */

  }
}

void SystemClock_Config(void)
{
  RCC_OscInitTypeDef RCC_OscInitStruct = {0};
  RCC_ClkInitTypeDef RCC_ClkInitStruct = {0};
  RCC_PeriphCLKInitTypeDef PeriphClkInitStruct = {0};

  /** Configure the main internal regulator output voltage
  */
  __HAL_RCC_PWR_CLK_ENABLE();
  __HAL_PWR_VOLTAGESCALING_CONFIG(PWR_REGULATOR_VOLTAGE_SCALE1);
  /** Initializes the CPU, AHB and APB busses clocks
  */
  RCC_OscInitStruct.OscillatorType = RCC_OSCILLATORTYPE_HSE;
  RCC_OscInitStruct.HSEState = RCC_HSE_ON;
  RCC_OscInitStruct.PLL.PLLState = RCC_PLL_ON;
  RCC_OscInitStruct.PLL.PLLSource = RCC_PLLSOURCE_HSE;
  RCC_OscInitStruct.PLL.PLLM = 25;
  RCC_OscInitStruct.PLL.PLLN = 400;
  RCC_OscInitStruct.PLL.PLLP = RCC_PLLP_DIV2;
  RCC_OscInitStruct.PLL.PLLQ = 8;
  if (HAL_RCC_OscConfig(&RCC_OscInitStruct) != HAL_OK)
  {
    Error_Handler();
  }
  /** Activate the Over-Drive mode
  */
  if (HAL_PWREx_EnableOverDrive() != HAL_OK)
  {
    Error_Handler();
  }
  /** Initializes the CPU, AHB and APB busses clocks
  */
  RCC_ClkInitStruct.ClockType = RCC_CLOCKTYPE_HCLK|RCC_CLOCKTYPE_SYSCLK
                              |RCC_CLOCKTYPE_PCLK1|RCC_CLOCKTYPE_PCLK2;
  RCC_ClkInitStruct.SYSCLKSource = RCC_SYSCLKSOURCE_PLLCLK;
  RCC_ClkInitStruct.AHBCLKDivider = RCC_SYSCLK_DIV1;
  RCC_ClkInitStruct.APB1CLKDivider = RCC_HCLK_DIV4;
  RCC_ClkInitStruct.APB2CLKDivider = RCC_HCLK_DIV2;

  if (HAL_RCC_ClockConfig(&RCC_ClkInitStruct, FLASH_LATENCY_6) != HAL_OK)
  {
    Error_Handler();
  }
  PeriphClkInitStruct.PeriphClockSelection = RCC_PERIPHCLK_LTDC|RCC_PERIPHCLK_SDMMC2
                              |RCC_PERIPHCLK_CLK48;
  PeriphClkInitStruct.PLLSAI.PLLSAIN = 192;
  PeriphClkInitStruct.PLLSAI.PLLSAIR = 2;
  PeriphClkInitStruct.PLLSAI.PLLSAIQ = 2;
  PeriphClkInitStruct.PLLSAI.PLLSAIP = RCC_PLLSAIP_DIV2;
  PeriphClkInitStruct.PLLSAIDivQ = 1;
  PeriphClkInitStruct.PLLSAIDivR = RCC_PLLSAIDIVR_2;
  PeriphClkInitStruct.Clk48ClockSelection = RCC_CLK48SOURCE_PLL;
  PeriphClkInitStruct.Sdmmc2ClockSelection = RCC_SDMMC2CLKSOURCE_CLK48;
  if (HAL_RCCEx_PeriphCLKConfig(&PeriphClkInitStruct) != HAL_OK)
  {
    Error_Handler();
  }
}

static void MX_ADC1_Init(void)
{

  ADC_ChannelConfTypeDef sConfig = {0};

  /** Configure the global features of the ADC (Clock, Resolution, Data Alignment and number of conversion)
  */
  hadc1.Instance = ADC1;
  hadc1.Init.ClockPrescaler = ADC_CLOCK_SYNC_PCLK_DIV4;
  hadc1.Init.Resolution = ADC_RESOLUTION_12B;
  hadc1.Init.ScanConvMode = DISABLE;
  hadc1.Init.ContinuousConvMode = ENABLE;
  hadc1.Init.DiscontinuousConvMode = DISABLE;
  hadc1.Init.ExternalTrigConvEdge = ADC_EXTERNALTRIGCONVEDGE_NONE;
  hadc1.Init.ExternalTrigConv = ADC_SOFTWARE_START;
  hadc1.Init.DataAlign = ADC_DATAALIGN_RIGHT;
  hadc1.Init.NbrOfConversion = 1;
  hadc1.Init.DMAContinuousRequests = DISABLE;
  hadc1.Init.EOCSelection = ADC_EOC_SEQ_CONV;
  if (HAL_ADC_Init(&hadc1) != HAL_OK)
  {
    Error_Handler();
  }
  /** Configure for the selected ADC regular channel its corresponding rank in the sequencer and its sample time.
  */
  sConfig.Channel = ADC_CHANNEL_TEMPSENSOR;
  sConfig.Rank = ADC_REGULAR_RANK_1;
  sConfig.SamplingTime = ADC_SAMPLETIME_56CYCLES;
  if (HAL_ADC_ConfigChannel(&hadc1, &sConfig) != HAL_OK)
  {
    Error_Handler();
  }

}

static void MX_DMA2D_Init(void)
{

  hdma2d.Instance = DMA2D;
  hdma2d.Init.Mode = DMA2D_M2M;
  hdma2d.Init.ColorMode = DMA2D_OUTPUT_ARGB8888;
  hdma2d.Init.OutputOffset = 0;
  hdma2d.LayerCfg[1].InputOffset = 0;
  hdma2d.LayerCfg[1].InputColorMode = DMA2D_INPUT_ARGB8888;
  hdma2d.LayerCfg[1].AlphaMode = DMA2D_NO_MODIF_ALPHA;
  hdma2d.LayerCfg[1].InputAlpha = 0;
  hdma2d.LayerCfg[1].AlphaInverted = DMA2D_REGULAR_ALPHA;
  hdma2d.LayerCfg[1].RedBlueSwap = DMA2D_RB_REGULAR;
  if (HAL_DMA2D_Init(&hdma2d) != HAL_OK)
  {
    Error_Handler();
  }
  if (HAL_DMA2D_ConfigLayer(&hdma2d, 1) != HAL_OK)
  {
    Error_Handler();
  }

}

static void MX_DSIHOST_DSI_Init(void)
{

  DSI_PLLInitTypeDef PLLInit = {0};
  DSI_HOST_TimeoutTypeDef HostTimeouts = {0};
  DSI_PHY_TimerTypeDef PhyTimings = {0};
  DSI_LPCmdTypeDef LPCmd = {0};
  DSI_CmdCfgTypeDef CmdCfg = {0};

  hdsi.Instance = DSI;
  hdsi.Init.AutomaticClockLaneControl = DSI_AUTO_CLK_LANE_CTRL_DISABLE;
  hdsi.Init.TXEscapeCkdiv = 4;
  hdsi.Init.NumberOfLanes = DSI_ONE_DATA_LANE;
  PLLInit.PLLNDIV = 20;
  PLLInit.PLLIDF = DSI_PLL_IN_DIV1;
  PLLInit.PLLODF = DSI_PLL_OUT_DIV1;
  if (HAL_DSI_Init(&hdsi, &PLLInit) != HAL_OK)
  {
    Error_Handler();
  }
  HostTimeouts.TimeoutCkdiv = 1;
  HostTimeouts.HighSpeedTransmissionTimeout = 0;
  HostTimeouts.LowPowerReceptionTimeout = 0;
  HostTimeouts.HighSpeedReadTimeout = 0;
  HostTimeouts.LowPowerReadTimeout = 0;
  HostTimeouts.HighSpeedWriteTimeout = 0;
  HostTimeouts.HighSpeedWritePrespMode = DSI_HS_PM_DISABLE;
  HostTimeouts.LowPowerWriteTimeout = 0;
  HostTimeouts.BTATimeout = 0;
  if (HAL_DSI_ConfigHostTimeouts(&hdsi, &HostTimeouts) != HAL_OK)
  {
    Error_Handler();
  }
  PhyTimings.ClockLaneHS2LPTime = 28;
  PhyTimings.ClockLaneLP2HSTime = 33;
  PhyTimings.DataLaneHS2LPTime = 15;
  PhyTimings.DataLaneLP2HSTime = 25;
  PhyTimings.DataLaneMaxReadTime = 0;
  PhyTimings.StopWaitTime = 0;
  if (HAL_DSI_ConfigPhyTimer(&hdsi, &PhyTimings) != HAL_OK)
  {
    Error_Handler();
  }
  if (HAL_DSI_ConfigFlowControl(&hdsi, DSI_FLOW_CONTROL_BTA) != HAL_OK)
  {
    Error_Handler();
  }
  if (HAL_DSI_SetLowPowerRXFilter(&hdsi, 10000) != HAL_OK)
  {
    Error_Handler();
  }
  if (HAL_DSI_ConfigErrorMonitor(&hdsi, HAL_DSI_ERROR_NONE) != HAL_OK)
  {
    Error_Handler();
  }
  LPCmd.LPGenShortWriteNoP = DSI_LP_GSW0P_DISABLE;
  LPCmd.LPGenShortWriteOneP = DSI_LP_GSW1P_DISABLE;
  LPCmd.LPGenShortWriteTwoP = DSI_LP_GSW2P_DISABLE;
  LPCmd.LPGenShortReadNoP = DSI_LP_GSR0P_DISABLE;
  LPCmd.LPGenShortReadOneP = DSI_LP_GSR1P_DISABLE;
  LPCmd.LPGenShortReadTwoP = DSI_LP_GSR2P_DISABLE;
  LPCmd.LPGenLongWrite = DSI_LP_GLW_DISABLE;
  LPCmd.LPDcsShortWriteNoP = DSI_LP_DSW0P_DISABLE;
  LPCmd.LPDcsShortWriteOneP = DSI_LP_DSW1P_DISABLE;
  LPCmd.LPDcsShortReadNoP = DSI_LP_DSR0P_DISABLE;
  LPCmd.LPDcsLongWrite = DSI_LP_DLW_DISABLE;
  LPCmd.LPMaxReadPacket = DSI_LP_MRDP_DISABLE;
  LPCmd.AcknowledgeRequest = DSI_ACKNOWLEDGE_DISABLE;
  if (HAL_DSI_ConfigCommand(&hdsi, &LPCmd) != HAL_OK)
  {
    Error_Handler();
  }
  CmdCfg.VirtualChannelID = 0;
  CmdCfg.ColorCoding = DSI_RGB888;
  CmdCfg.CommandSize = 640;
  CmdCfg.TearingEffectSource = DSI_TE_EXTERNAL;
  CmdCfg.TearingEffectPolarity = DSI_TE_RISING_EDGE;
  CmdCfg.HSPolarity = DSI_HSYNC_ACTIVE_LOW;
  CmdCfg.VSPolarity = DSI_VSYNC_ACTIVE_LOW;
  CmdCfg.DEPolarity = DSI_DATA_ENABLE_ACTIVE_HIGH;
  CmdCfg.VSyncPol = DSI_VSYNC_FALLING;
  CmdCfg.AutomaticRefresh = DSI_AR_ENABLE;
  CmdCfg.TEAcknowledgeRequest = DSI_TE_ACKNOWLEDGE_DISABLE;
  if (HAL_DSI_ConfigAdaptedCommandMode(&hdsi, &CmdCfg) != HAL_OK)
  {
    Error_Handler();
  }
  if (HAL_DSI_SetGenericVCID(&hdsi, 0) != HAL_OK)
  {
    Error_Handler();
  }

}

static void MX_LTDC_Init(void)
{

  LTDC_LayerCfgTypeDef pLayerCfg = {0};
  LTDC_LayerCfgTypeDef pLayerCfg1 = {0};

  hltdc.Instance = LTDC;
  hltdc.Init.HSPolarity = LTDC_HSPOLARITY_AL;
  hltdc.Init.VSPolarity = LTDC_VSPOLARITY_AL;
  hltdc.Init.DEPolarity = LTDC_DEPOLARITY_AL;
  hltdc.Init.PCPolarity = LTDC_PCPOLARITY_IPC;
  hltdc.Init.HorizontalSync = 7;
  hltdc.Init.VerticalSync = 3;
  hltdc.Init.AccumulatedHBP = 14;
  hltdc.Init.AccumulatedVBP = 5;
  hltdc.Init.AccumulatedActiveW = 654;
  hltdc.Init.AccumulatedActiveH = 485;
  hltdc.Init.TotalWidth = 660;
  hltdc.Init.TotalHeigh = 487;
  hltdc.Init.Backcolor.Blue = 0;
  hltdc.Init.Backcolor.Green = 0;
  hltdc.Init.Backcolor.Red = 0;
  if (HAL_LTDC_Init(&hltdc) != HAL_OK)
  {
    Error_Handler();
  }
  pLayerCfg.WindowX0 = 0;
  pLayerCfg.WindowX1 = 0;
  pLayerCfg.WindowY0 = 0;
  pLayerCfg.WindowY1 = 0;
  pLayerCfg.PixelFormat = LTDC_PIXEL_FORMAT_ARGB8888;
  pLayerCfg.Alpha = 0;
  pLayerCfg.Alpha0 = 0;
  pLayerCfg.BlendingFactor1 = LTDC_BLENDING_FACTOR1_CA;
  pLayerCfg.BlendingFactor2 = LTDC_BLENDING_FACTOR2_CA;
  pLayerCfg.FBStartAdress = 0;
  pLayerCfg.ImageWidth = 0;
  pLayerCfg.ImageHeight = 0;
  pLayerCfg.Backcolor.Blue = 0;
  pLayerCfg.Backcolor.Green = 0;
  pLayerCfg.Backcolor.Red = 0;
  if (HAL_LTDC_ConfigLayer(&hltdc, &pLayerCfg, 0) != HAL_OK)
  {
    Error_Handler();
  }
  pLayerCfg1.WindowX0 = 0;
  pLayerCfg1.WindowX1 = 0;
  pLayerCfg1.WindowY0 = 0;
  pLayerCfg1.WindowY1 = 0;
  pLayerCfg1.PixelFormat = LTDC_PIXEL_FORMAT_ARGB8888;
  pLayerCfg1.Alpha = 0;
  pLayerCfg1.Alpha0 = 0;
  pLayerCfg1.BlendingFactor1 = LTDC_BLENDING_FACTOR1_CA;
  pLayerCfg1.BlendingFactor2 = LTDC_BLENDING_FACTOR2_CA;
  pLayerCfg1.FBStartAdress = 0;
  pLayerCfg1.ImageWidth = 0;
  pLayerCfg1.ImageHeight = 0;
  pLayerCfg1.Backcolor.Blue = 0;
  pLayerCfg1.Backcolor.Green = 0;
  pLayerCfg1.Backcolor.Red = 0;
  if (HAL_LTDC_ConfigLayer(&hltdc, &pLayerCfg1, 1) != HAL_OK)
  {
    Error_Handler();
  }

}

static void MX_SDMMC2_SD_Init(void)
{

  hsd2.Instance = SDMMC2;
  hsd2.Init.ClockEdge = SDMMC_CLOCK_EDGE_RISING;
  hsd2.Init.ClockBypass = SDMMC_CLOCK_BYPASS_DISABLE;
  hsd2.Init.ClockPowerSave = SDMMC_CLOCK_POWER_SAVE_DISABLE;
  hsd2.Init.BusWide = SDMMC_BUS_WIDE_1B;
  hsd2.Init.HardwareFlowControl = SDMMC_HARDWARE_FLOW_CONTROL_DISABLE;
  hsd2.Init.ClockDiv = 0;

}

static void MX_TIM6_Init(void)
{

  TIM_MasterConfigTypeDef sMasterConfig = {0};

  htim6.Instance = TIM6;
  htim6.Init.Prescaler = 9999;
  htim6.Init.CounterMode = TIM_COUNTERMODE_UP;
  htim6.Init.Period = 9999;
  htim6.Init.AutoReloadPreload = TIM_AUTORELOAD_PRELOAD_DISABLE;
  if (HAL_TIM_Base_Init(&htim6) != HAL_OK)
  {
    Error_Handler();
  }
  sMasterConfig.MasterOutputTrigger = TIM_TRGO_RESET;
  sMasterConfig.MasterSlaveMode = TIM_MASTERSLAVEMODE_DISABLE;
  if (HAL_TIMEx_MasterConfigSynchronization(&htim6, &sMasterConfig) != HAL_OK)
  {
    Error_Handler();
  }

}

/* FMC initialization function */
static void MX_FMC_Init(void)
{

  FMC_SDRAM_TimingTypeDef SdramTiming = {0};

  /** Perform the SDRAM1 memory initialization sequence
  */
  hsdram1.Instance = FMC_SDRAM_DEVICE;
  /* hsdram1.Init */
  hsdram1.Init.SDBank = FMC_SDRAM_BANK2;
  hsdram1.Init.ColumnBitsNumber = FMC_SDRAM_COLUMN_BITS_NUM_8;
  hsdram1.Init.RowBitsNumber = FMC_SDRAM_ROW_BITS_NUM_13;
  hsdram1.Init.MemoryDataWidth = FMC_SDRAM_MEM_BUS_WIDTH_32;
  hsdram1.Init.InternalBankNumber = FMC_SDRAM_INTERN_BANKS_NUM_4;
  hsdram1.Init.CASLatency = FMC_SDRAM_CAS_LATENCY_1;
  hsdram1.Init.WriteProtection = FMC_SDRAM_WRITE_PROTECTION_DISABLE;
  hsdram1.Init.SDClockPeriod = FMC_SDRAM_CLOCK_DISABLE;
  hsdram1.Init.ReadBurst = FMC_SDRAM_RBURST_DISABLE;
  hsdram1.Init.ReadPipeDelay = FMC_SDRAM_RPIPE_DELAY_0;
  /* SdramTiming */
  SdramTiming.LoadToActiveDelay = 16;
  SdramTiming.ExitSelfRefreshDelay = 16;
  SdramTiming.SelfRefreshTime = 16;
  SdramTiming.RowCycleDelay = 16;
  SdramTiming.WriteRecoveryTime = 16;
  SdramTiming.RPDelay = 16;
  SdramTiming.RCDDelay = 16;

  if (HAL_SDRAM_Init(&hsdram1, &SdramTiming) != HAL_OK)
  {
    Error_Handler( );
  }

}

static void MX_GPIO_Init(void)
{
  GPIO_InitTypeDef GPIO_InitStruct = {0};

  /* GPIO Ports Clock Enable */
  __HAL_RCC_GPIOB_CLK_ENABLE();
  __HAL_RCC_GPIOD_CLK_ENABLE();
  __HAL_RCC_GPIOG_CLK_ENABLE();
  __HAL_RCC_GPIOI_CLK_ENABLE();
  __HAL_RCC_GPIOF_CLK_ENABLE();
  __HAL_RCC_GPIOH_CLK_ENABLE();
  __HAL_RCC_GPIOE_CLK_ENABLE();
  __HAL_RCC_GPIOJ_CLK_ENABLE();

  /*Configure GPIO pin : PI13 */
  GPIO_InitStruct.Pin = GPIO_PIN_13;
  GPIO_InitStruct.Mode = GPIO_MODE_IT_RISING;
  GPIO_InitStruct.Pull = GPIO_NOPULL;
  HAL_GPIO_Init(GPIOI, &GPIO_InitStruct);

  /*Configure GPIO pin : PI15 */
  GPIO_InitStruct.Pin = GPIO_PIN_15;
  GPIO_InitStruct.Mode = GPIO_MODE_INPUT;
  GPIO_InitStruct.Pull = GPIO_NOPULL;
  HAL_GPIO_Init(GPIOI, &GPIO_InitStruct);

  /* EXTI interrupt init*/
  HAL_NVIC_SetPriority(EXTI15_10_IRQn, 0, 0);
  HAL_NVIC_EnableIRQ(EXTI15_10_IRQn);

}

/* USER CODE BEGIN 4 */
static void LCD_Config(void)
{
  uint32_t  lcd_status = LCD_OK;

  /* Initialize the LCD */
  lcd_status = BSP_LCD_Init();
  while(lcd_status != LCD_OK);

  BSP_LCD_LayerDefaultInit(0, LCD_FB_START_ADDRESS);

  /* Clear the LCD */
  BSP_LCD_Clear(LCD_COLOR_WHITE);

  /* Set LCD Example description */
  BSP_LCD_SetTextColor(LCD_COLOR_DARKBLUE);
  BSP_LCD_SetFont(&Font12);
  BSP_LCD_DisplayStringAt(0, BSP_LCD_GetYSize()- 20, (uint8_t *)"Copyright (c) Laufeyson 2019", CENTER_MODE);
  BSP_LCD_SetTextColor(LCD_COLOR_ORANGE);
  BSP_LCD_FillRect(0, 0, BSP_LCD_GetXSize(), 50);
  BSP_LCD_SetTextColor(LCD_COLOR_WHITE);
  BSP_LCD_SetBackColor(LCD_COLOR_ORANGE);
  BSP_LCD_SetFont(&Font24);
  BSP_LCD_DisplayStringAt(0, 10, (uint8_t *)"REVERSI", CENTER_MODE);
  BSP_LCD_SetFont(&Font16);

  BSP_LCD_SetTextColor(LCD_COLOR_BLACK);
  BSP_LCD_SetBackColor(LCD_COLOR_WHITE);
}
/* USER CODE END 4 */

void Error_Handler(void)
{
  /* USER CODE BEGIN Error_Handler_Debug */
  /* User can add his own implementation to report the HAL error return state */
	while(1){
		BSP_LED_Toggle(LED_RED);
		HAL_Delay(500);
	}
  /* USER CODE END Error_Handler_Debug */
}

/************************ (C) COPYRIGHT STMicroelectronics *****END OF FILE****/
